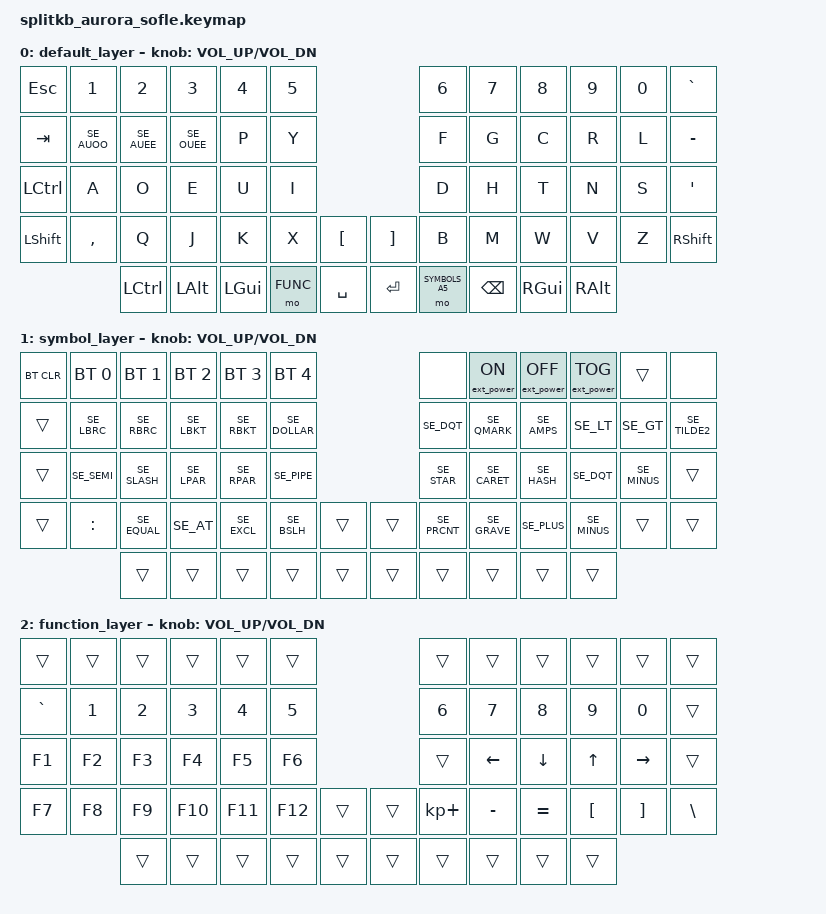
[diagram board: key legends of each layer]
/*
 * Copyright (c) 2023 The ZMK Contributors
 *
 * SPDX-License-Identifier: MIT
 */

#include <behaviors.dtsi>
#include <dt-bindings/zmk/keys.h>
#include <dt-bindings/zmk/bt.h>
#include <dt-bindings/zmk/ext_power.h>
#include "keymap_swedish.h"



// layers

#define DVORAK 0
#define SYMBOLS_A5 1
#define NUM 2
#define FUNC 3
#define MEDIA 4
// #define QWERTY

/ {
    keymap {
        compatible = "zmk,keymap";

        default_layer {
// ------------------------------------------------------------------------------------------------------------
// |  ESC  |  1  |  2  |  3   |  4   |  5   |                   |  6   |  7    |  8    |  9   |   0   |   `   |
// |  TAB  |  Q  |  W  |  E   |  R   |  T   |                   |  Y   |  U    |  I    |  O   |   P   |   -   |
// |  CTRL |  A  |  S  |  D   |  F   |  G   |                   |  H   |  J    |  K    |  L   |   ;   |   '   |
// | SHIFT |  Z  |  X  |  C   |  V   |  B   |   "["  |  |  "]"  |  N   |  M    |  ,    |  .   |   /   | SHIFT |
//               |CTRL | ALT  | GUI  | LOWER|  SPACE |  | ENTER | RAISE| BSPC  | GUI   | RALT |
            bindings = <
&kp ESC   &kp N1      &kp N2        &kp N3      &kp N4   &kp N5                              &kp N6          &kp N7   &kp N8    &kp N9   &kp N0   &kp GRAVE
&kp TAB   &kp SE_AUOO &kp SE_AUEE   &kp SE_OUEE &kp P    &kp Y                               &kp F           &kp G    &kp C     &kp R    &kp L    &kp MINUS
&kp LCTRL &kp A       &kp O         &kp E       &kp U    &kp I                               &kp D           &kp H    &kp T     &kp N    &kp S    &kp SQT
&kp LSHFT &kp COMMA   &kp Q         &kp J       &kp K    &kp X     &kp LBKT   &kp RBKT       &kp B           &kp M    &kp W     &kp V    &kp Z    &kp RSHFT
                      &kp LCTRL     &kp LALT    &kp LGUI &mo FUNC  &kp SPACE  &kp RET        &mo SYMBOLS_A5  &kp BSPC &kp RGUI  &kp RALT
            >;
            sensor-bindings = <&inc_dec_kp C_VOL_UP C_VOL_DN>;
        };
        symbol_layer {
// ------------------------------------------------------------------------------------------------------------
// | BTCLR | BT1 | BT2 |  BT3 |  BT4 |  BT5 |                   |      |       |       |      |       |       |
// |  F1   |  F2 |  F3 |  F4  |  F5  |  F6  |                   |  F7  |  F8   |  F9   |  F10 |  F11  |  F12  |
// |   `   |  !  |  @  |  #   |  $   |  %   |                   |  ^   |  &    |  *    |  (   |   )   |   ~   |
// |       |     |     |      |      |      |        |  |       |      |  _    |  +    |  {   |   }   |  "|"  |
//               |     |      |      |      |        |  |       |      |       |       |      |
// 
             bindings = <
&bt BT_CLR  &bt BT_SEL 0    &bt BT_SEL 1  &bt BT_SEL 2 &bt BT_SEL 3 &bt BT_SEL 4                  &none           &ext_power EP_ON    &ext_power EP_OFF &ext_power EP_TOG &trans          &none
&trans      &kp SE_LBRC     &kp SE_RBRC   &kp SE_LBKT  &kp SE_RBKT  &kp SE_DOLLAR                 &kp SE_DQT      &kp SE_QMARK        &kp SE_AMPS       &kp SE_LT         &kp SE_GT       &kp SE_TILDE2
&trans      &kp SE_SEMI     &kp SE_SLASH  &kp SE_LPAR  &kp SE_RPAR  &kp SE_PIPE                   &kp SE_STAR     &kp SE_CARET        &kp SE_HASH       &kp SE_DQT        &kp SE_MINUS    &trans
&trans      &kp COLON       &kp SE_EQUAL  &kp SE_AT    &kp SE_EXCL  &kp SE_BSLH  &trans   &trans  &kp SE_PRCNT    &kp SE_GRAVE        &kp SE_PLUS       &kp SE_MINUS      &trans          &trans
                            &trans        &trans       &trans       &trans       &trans   &trans  &trans          &trans              &trans            &trans
             >;
            sensor-bindings = <&inc_dec_kp C_VOL_UP C_VOL_DN>;
        };
// Find place for these:
// &kp TILDE
/*
corne            ~
sofle            *
corne       #    '
sofle       *    ä
corne  :   \      
sofle  Ö   ´    z 

sofle
{}[]$ `&<>*
;/()˛*^#"-ä
Ö=@!´%`+-z 

corne
{}[]$"?&<>~
;/()|#^#"-'
:=@!\%`+-  


corne  {}[]$"?&<>~
sofle  {}[]$ `&<>*
corne  ;/()|#^#"-'
sofle  ;/()˛*^#"-ä
corne  :=@!\%`+-  
sofle  Ö=@!´%`+-z 

*/

        function_layer {
// ------------------------------------------------------------------------------------------------------------
// |       |     |     |      |      |      |                   |      |       |       |      |       |       |
// |   `   |  1  |  2  |  3   |  4   |  5   |                   |  6   |   7   |   8   |  9   |   0   |       |
// |   F1  |  F2 |  F3 |  F4  |  F5  |  F6  |                   |      |   <-  |   v   |  ^   |  ->   |       |
// |   F7  |  F8 |  F9 |  F10 |  F11 |  F12 |        |  |       |  +   |   -   |   =   |  [   |   ]   |   \   |
//               |     |      |      |      |        |  |       |      |       |       |      |
            bindings = <
&trans    &trans &trans &trans  &trans  &trans                       &trans      &trans    &trans    &trans   &trans    &trans
&kp GRAVE &kp N1 &kp N2 &kp N3  &kp N4  &kp N5                       &kp N6      &kp N7    &kp N8    &kp N9   &kp N0    &trans
&kp F1    &kp F2 &kp F3 &kp F4  &kp F5  &kp F6                       &trans      &kp LEFT  &kp DOWN  &kp UP   &kp RIGHT &trans
&kp F7    &kp F8 &kp F9 &kp F10 &kp F11 &kp F12   &trans   &trans    &kp KP_PLUS &kp MINUS &kp EQUAL &kp LBKT &kp RBKT  &kp BSLH
                 &trans &trans  &trans  &trans    &trans   &trans    &trans      &trans    &trans    &trans
            >;

            sensor-bindings = <&inc_dec_kp C_VOL_UP C_VOL_DN>;
        };
    };
};



// Old layers:
//         lower_layer {
// // ------------------------------------------------------------------------------------------------------------
// // | BTCLR | BT1 | BT2 |  BT3 |  BT4 |  BT5 |                   |      |       |       |      |       |       |
// // |  F1   |  F2 |  F3 |  F4  |  F5  |  F6  |                   |  F7  |  F8   |  F9   |  F10 |  F11  |  F12  |
// // |   `   |  !  |  @  |  #   |  $   |  %   |                   |  ^   |  &    |  *    |  (   |   )   |   ~   |
// // |       |     |     |      |      |      |        |  |       |      |  _    |  +    |  {   |   }   |  "|"  |
// //               |     |      |      |      |        |  |       |      |       |       |      |
// 
//             sensor-bindings = <&inc_dec_kp C_VOL_UP C_VOL_DN>;
//         };
// 
//         raise_layer {
// // ------------------------------------------------------------------------------------------------------------
// // |       |     |     |      |      |      |                   |      |       |       |      |       |       |
// // |   `   |  1  |  2  |  3   |  4   |  5   |                   |  6   |   7   |   8   |  9   |   0   |       |
// // |   F1  |  F2 |  F3 |  F4  |  F5  |  F6  |                   |      |   <-  |   v   |  ^   |  ->   |       |
// // |   F7  |  F8 |  F9 |  F10 |  F11 |  F12 |        |  |       |  +   |   -   |   =   |  [   |   ]   |   \   |
// //               |     |      |      |      |        |  |       |      |       |       |      |
//             bindings = <
// &trans    &trans &trans &trans  &trans  &trans                       &trans      &trans    &trans    &trans   &trans    &trans
// &kp GRAVE &kp N1 &kp N2 &kp N3  &kp N4  &kp N5                       &kp N6      &kp N7    &kp N8    &kp N9   &kp N0    &trans
// &kp F1    &kp F2 &kp F3 &kp F4  &kp F5  &kp F6                       &trans      &kp LEFT  &kp DOWN  &kp UP   &kp RIGHT &trans
// &kp F7    &kp F8 &kp F9 &kp F10 &kp F11 &kp F12   &trans   &trans    &kp KP_PLUS &kp MINUS &kp EQUAL &kp LBKT &kp RBKT  &kp BSLH
//                  &trans &trans  &trans  &trans    &trans   &trans    &trans      &trans    &trans    &trans
//             >;
// 
//             sensor-bindings = <&inc_dec_kp C_VOL_UP C_VOL_DN>;
//         };
// 
